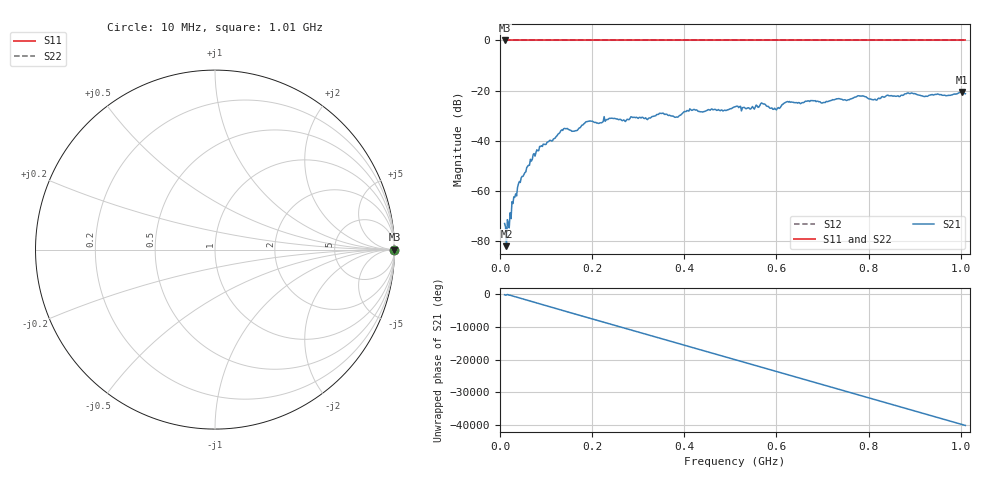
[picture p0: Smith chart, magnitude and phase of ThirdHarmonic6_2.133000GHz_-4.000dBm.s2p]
! 8/17/2025 1:29:04 AM
! C:\ANRITSUVNA\TEMP\TEMP.S2P
! CHANNEL.1
! TR.MEASUREMENT
! RAW.DATA
! RF.CORRECTION.OFF
! AVERAGING.OFF
! IF.BANDWIDTH: 5KHZ
! SWEEPTYPE:  FREQ.SWEEP(Linear)
! Reference Plane Port Info
! PORT:  PORT1  PORT2
! DISTANCE:  0  m  0  m
! TIME:  0  s  0  s
! PHASE.OFFSET:  0  deg.  0  deg.
! LOSS:  0  dB  0  dB
! REF.LOSS:  0  dB  0  dB
! REF.FREQ:  0  Hz  0  Hz
! Power Info
! POWER:  -20  dBm  -20  dBm
! EFF.POWER:  -20  dBm  -20  dBm
! SOURCE.ATTEN:  0  dB  0  dB
! TEST.ATTEN:  0  dB  0  dB
# GHZ S RI R 50.0
! FREQ.GHZ  S11RE  S11IM  S21RE  S21IM  S12RE  S12IM  S22RE  S22IM
!; PortSelection: Port_12
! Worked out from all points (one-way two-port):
!   501 points, 10 MHz to 1.01 GHz, reference 50 ohm
!   highest |S21| = -20.59 dB at 1.002 GHz (marker M1); lowest = -82.0 dB at 14 MHz (marker M2)
!   lowest |S11| = 0.0 dB at 10 MHz (marker M3)
!   |S11| at or under -10 dB: nowhere
!   |S22| runs from 0.0 to 0.0 dB; largest |S21 - S12| = 1.1
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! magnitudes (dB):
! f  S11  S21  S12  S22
! 10 MHz  0.0  -73.0  0.0  0.0
! 14 MHz  0.0  -82.0  0.0  0.0
! 18 MHz  0.0  -72.9  0.0  0.0
! 30 MHz  0.0  -62.4  0.0  0.0
! 42 MHz  0.0  -56.2  0.0  0.0
! 76 MHz  0.0  -46.1  0.0  0.0
! 136 MHz  0.0  -35.9  0.0  0.0
! 164 MHz  0.0  -36.0  0.0  0.0
! 178 MHz  0.0  -33.7  0.0  0.0
! 192 MHz  0.0  -32.2  0.0  0.0
! 344 MHz  0.0  -29.5  0.0  0.0
! 382 MHz  0.0  -30.5  0.0  0.0
! 410 MHz  0.0  -28.1  0.0  0.0
! 510 MHz  0.0  -26.5  0.0  0.0
! 548 MHz  0.0  -26.3  0.0  0.0
! 570 MHz  0.0  -25.2  0.0  0.0
! 596 MHz  0.0  -27.0  0.0  0.0
! 624 MHz  0.0  -24.3  0.0  0.0
! 678 MHz  0.0  -24.0  0.0  0.0
! 844 MHz  0.0  -22.0  0.0  0.0
! 1.002 GHz  0.0  -20.6  0.0  0.0
! 1.01 GHz  0.0  -21.2  0.0  0.0
